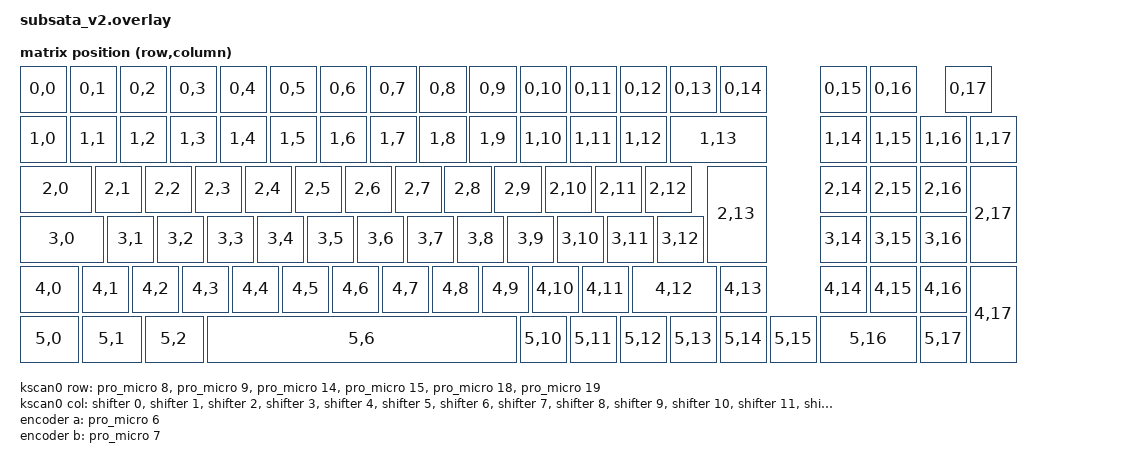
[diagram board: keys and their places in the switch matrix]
/*
 * Subsata v2 (Grstn90Plus rev 2): 99 keys + encoder on a nice!nano v2 (or a
 * "ProMicro NRF52840" clone), mounted face-down.
 *
 * Matrix: 6 rows x 18 columns, diodes col2row (same matrix as v1).
 *   Rows 0-5      D8, D9, D14, D15, D18, D19
 *   Columns 0-15  two daisy-chained 74HC595 shift registers (U2 = 0-7, U3 = 8-15)
 *   Columns 16-17 D20, D21
 *   The encoder's push switch is row 0, column 17.
 *
 * Shared SPI bus on the fast pins: SCK = D3 (P0.20), MOSI = D2 (P0.17).
 *   nice!view select = D1 (active high), shift register latch (RCLK) = D0 (active low).
 * Encoder: A = D6, B = D7.
 * LEDs: 20 SK6812MINI-E, data on D4 (P0.22) through a 330 ohm resistor.
 * LED power: TPS22917 load switch from the battery, ON = D5. ZMK's external
 *   power is pointed at it, so turning the LEDs off (or sleeping) cuts their power.
 *   The nice!nano's switchable 3.3V pin (P0.13) powers the shift registers and the
 *   nice!view, so it is held on permanently.
 */

#include <dt-bindings/zmk/matrix_transform.h>
#include <dt-bindings/led/led.h>
#include <physical_layouts.dtsi>

/ {
    chosen {
        zmk,physical-layout = &subsata_layout;
        zmk,underglow = &led_strip;
    };

    kscan0: kscan {
        compatible = "zmk,kscan-gpio-matrix";
        diode-direction = "col2row";

        row-gpios
            = <&pro_micro 8 (GPIO_ACTIVE_HIGH | GPIO_PULL_DOWN)>
            , <&pro_micro 9 (GPIO_ACTIVE_HIGH | GPIO_PULL_DOWN)>
            , <&pro_micro 14 (GPIO_ACTIVE_HIGH | GPIO_PULL_DOWN)>
            , <&pro_micro 15 (GPIO_ACTIVE_HIGH | GPIO_PULL_DOWN)>
            , <&pro_micro 18 (GPIO_ACTIVE_HIGH | GPIO_PULL_DOWN)>
            , <&pro_micro 19 (GPIO_ACTIVE_HIGH | GPIO_PULL_DOWN)>
            ;

        col-gpios
            = <&shifter 0 GPIO_ACTIVE_HIGH>     /* U2 QA */
            , <&shifter 1 GPIO_ACTIVE_HIGH>
            , <&shifter 2 GPIO_ACTIVE_HIGH>
            , <&shifter 3 GPIO_ACTIVE_HIGH>
            , <&shifter 4 GPIO_ACTIVE_HIGH>
            , <&shifter 5 GPIO_ACTIVE_HIGH>
            , <&shifter 6 GPIO_ACTIVE_HIGH>
            , <&shifter 7 GPIO_ACTIVE_HIGH>     /* U2 QH */
            , <&shifter 8 GPIO_ACTIVE_HIGH>     /* U3 QA */
            , <&shifter 9 GPIO_ACTIVE_HIGH>
            , <&shifter 10 GPIO_ACTIVE_HIGH>
            , <&shifter 11 GPIO_ACTIVE_HIGH>
            , <&shifter 12 GPIO_ACTIVE_HIGH>
            , <&shifter 13 GPIO_ACTIVE_HIGH>
            , <&shifter 14 GPIO_ACTIVE_HIGH>
            , <&shifter 15 GPIO_ACTIVE_HIGH>    /* U3 QH */
            , <&pro_micro 20 GPIO_ACTIVE_HIGH>  /* column 16 */
            , <&pro_micro 21 GPIO_ACTIVE_HIGH>  /* column 17 */
            ;
    };

    default_transform: matrix_transform {
        compatible = "zmk,matrix-transform";
        rows = <6>;
        columns = <18>;
        map = <
        RC(0,0)   RC(0,1)   RC(0,2)   RC(0,3)   RC(0,4)   RC(0,5)   RC(0,6)   RC(0,7)   RC(0,8)   RC(0,9)   RC(0,10)  RC(0,11)  RC(0,12)  RC(0,13)  RC(0,14)  RC(0,15)  RC(0,16)  RC(0,17)
        RC(1,0)   RC(1,1)   RC(1,2)   RC(1,3)   RC(1,4)   RC(1,5)   RC(1,6)   RC(1,7)   RC(1,8)   RC(1,9)   RC(1,10)  RC(1,11)  RC(1,12)  RC(1,13)  RC(1,14)  RC(1,15)  RC(1,16)  RC(1,17)
        RC(2,0)   RC(2,1)   RC(2,2)   RC(2,3)   RC(2,4)   RC(2,5)   RC(2,6)   RC(2,7)   RC(2,8)   RC(2,9)   RC(2,10)  RC(2,11)  RC(2,12)  RC(2,13)  RC(2,14)  RC(2,15)  RC(2,16)  RC(2,17)
        RC(3,0)   RC(3,1)   RC(3,2)   RC(3,3)   RC(3,4)   RC(3,5)   RC(3,6)   RC(3,7)   RC(3,8)   RC(3,9)   RC(3,10)  RC(3,11)  RC(3,12)  RC(3,14)  RC(3,15)  RC(3,16)
        RC(4,0)   RC(4,1)   RC(4,2)   RC(4,3)   RC(4,4)   RC(4,5)   RC(4,6)   RC(4,7)   RC(4,8)   RC(4,9)   RC(4,10)  RC(4,11)  RC(4,12)  RC(4,13)  RC(4,14)  RC(4,15)  RC(4,16)  RC(4,17)
        RC(5,0)   RC(5,1)   RC(5,2)   RC(5,6)   RC(5,10)  RC(5,11)  RC(5,12)  RC(5,13)  RC(5,14)  RC(5,15)  RC(5,16)  RC(5,17)
        >;
    };

    subsata_layout: subsata_layout {
        compatible = "zmk,physical-layout";
        display-name = "Subsata v2";
        transform = <&default_transform>;
        kscan = <&kscan0>;
        keys  //                     w   h     x    y rot rx ry
            = <&key_physical_attrs 100 100     0    0 0 0 0>
            , <&key_physical_attrs 100 100   100    0 0 0 0>
            , <&key_physical_attrs 100 100   200    0 0 0 0>
            , <&key_physical_attrs 100 100   300    0 0 0 0>
            , <&key_physical_attrs 100 100   400    0 0 0 0>
            , <&key_physical_attrs 100 100   500    0 0 0 0>
            , <&key_physical_attrs 100 100   600    0 0 0 0>
            , <&key_physical_attrs 100 100   700    0 0 0 0>
            , <&key_physical_attrs 100 100   800    0 0 0 0>
            , <&key_physical_attrs 100 100   900    0 0 0 0>
            , <&key_physical_attrs 100 100  1000    0 0 0 0>
            , <&key_physical_attrs 100 100  1100    0 0 0 0>
            , <&key_physical_attrs 100 100  1200    0 0 0 0>
            , <&key_physical_attrs 100 100  1300    0 0 0 0>
            , <&key_physical_attrs 100 100  1400    0 0 0 0>
            , <&key_physical_attrs 100 100  1600    0 0 0 0>
            , <&key_physical_attrs 100 100  1700    0 0 0 0>
            , <&key_physical_attrs 100 100  1850    0 0 0 0>
            , <&key_physical_attrs 100 100     0  100 0 0 0>
            , <&key_physical_attrs 100 100   100  100 0 0 0>
            , <&key_physical_attrs 100 100   200  100 0 0 0>
            , <&key_physical_attrs 100 100   300  100 0 0 0>
            , <&key_physical_attrs 100 100   400  100 0 0 0>
            , <&key_physical_attrs 100 100   500  100 0 0 0>
            , <&key_physical_attrs 100 100   600  100 0 0 0>
            , <&key_physical_attrs 100 100   700  100 0 0 0>
            , <&key_physical_attrs 100 100   800  100 0 0 0>
            , <&key_physical_attrs 100 100   900  100 0 0 0>
            , <&key_physical_attrs 100 100  1000  100 0 0 0>
            , <&key_physical_attrs 100 100  1100  100 0 0 0>
            , <&key_physical_attrs 100 100  1200  100 0 0 0>
            , <&key_physical_attrs 200 100  1300  100 0 0 0>
            , <&key_physical_attrs 100 100  1600  100 0 0 0>
            , <&key_physical_attrs 100 100  1700  100 0 0 0>
            , <&key_physical_attrs 100 100  1800  100 0 0 0>
            , <&key_physical_attrs 100 100  1900  100 0 0 0>
            , <&key_physical_attrs 150 100     0  200 0 0 0>
            , <&key_physical_attrs 100 100   150  200 0 0 0>
            , <&key_physical_attrs 100 100   250  200 0 0 0>
            , <&key_physical_attrs 100 100   350  200 0 0 0>
            , <&key_physical_attrs 100 100   450  200 0 0 0>
            , <&key_physical_attrs 100 100   550  200 0 0 0>
            , <&key_physical_attrs 100 100   650  200 0 0 0>
            , <&key_physical_attrs 100 100   750  200 0 0 0>
            , <&key_physical_attrs 100 100   850  200 0 0 0>
            , <&key_physical_attrs 100 100   950  200 0 0 0>
            , <&key_physical_attrs 100 100  1050  200 0 0 0>
            , <&key_physical_attrs 100 100  1150  200 0 0 0>
            , <&key_physical_attrs 100 100  1250  200 0 0 0>
            , <&key_physical_attrs 125 200  1375  200 0 0 0>
            , <&key_physical_attrs 100 100  1600  200 0 0 0>
            , <&key_physical_attrs 100 100  1700  200 0 0 0>
            , <&key_physical_attrs 100 100  1800  200 0 0 0>
            , <&key_physical_attrs 100 200  1900  200 0 0 0>
            , <&key_physical_attrs 175 100     0  300 0 0 0>
            , <&key_physical_attrs 100 100   175  300 0 0 0>
            , <&key_physical_attrs 100 100   275  300 0 0 0>
            , <&key_physical_attrs 100 100   375  300 0 0 0>
            , <&key_physical_attrs 100 100   475  300 0 0 0>
            , <&key_physical_attrs 100 100   575  300 0 0 0>
            , <&key_physical_attrs 100 100   675  300 0 0 0>
            , <&key_physical_attrs 100 100   775  300 0 0 0>
            , <&key_physical_attrs 100 100   875  300 0 0 0>
            , <&key_physical_attrs 100 100   975  300 0 0 0>
            , <&key_physical_attrs 100 100  1075  300 0 0 0>
            , <&key_physical_attrs 100 100  1175  300 0 0 0>
            , <&key_physical_attrs 100 100  1275  300 0 0 0>
            , <&key_physical_attrs 100 100  1600  300 0 0 0>
            , <&key_physical_attrs 100 100  1700  300 0 0 0>
            , <&key_physical_attrs 100 100  1800  300 0 0 0>
            , <&key_physical_attrs 125 100     0  400 0 0 0>
            , <&key_physical_attrs 100 100   125  400 0 0 0>
            , <&key_physical_attrs 100 100   225  400 0 0 0>
            , <&key_physical_attrs 100 100   325  400 0 0 0>
            , <&key_physical_attrs 100 100   425  400 0 0 0>
            , <&key_physical_attrs 100 100   525  400 0 0 0>
            , <&key_physical_attrs 100 100   625  400 0 0 0>
            , <&key_physical_attrs 100 100   725  400 0 0 0>
            , <&key_physical_attrs 100 100   825  400 0 0 0>
            , <&key_physical_attrs 100 100   925  400 0 0 0>
            , <&key_physical_attrs 100 100  1025  400 0 0 0>
            , <&key_physical_attrs 100 100  1125  400 0 0 0>
            , <&key_physical_attrs 175 100  1225  400 0 0 0>
            , <&key_physical_attrs 100 100  1400  400 0 0 0>
            , <&key_physical_attrs 100 100  1600  400 0 0 0>
            , <&key_physical_attrs 100 100  1700  400 0 0 0>
            , <&key_physical_attrs 100 100  1800  400 0 0 0>
            , <&key_physical_attrs 100 200  1900  400 0 0 0>
            , <&key_physical_attrs 125 100     0  500 0 0 0>
            , <&key_physical_attrs 125 100   125  500 0 0 0>
            , <&key_physical_attrs 125 100   250  500 0 0 0>
            , <&key_physical_attrs 625 100   375  500 0 0 0>
            , <&key_physical_attrs 100 100  1000  500 0 0 0>
            , <&key_physical_attrs 100 100  1100  500 0 0 0>
            , <&key_physical_attrs 100 100  1200  500 0 0 0>
            , <&key_physical_attrs 100 100  1300  500 0 0 0>
            , <&key_physical_attrs 100 100  1400  500 0 0 0>
            , <&key_physical_attrs 100 100  1500  500 0 0 0>
            , <&key_physical_attrs 200 100  1600  500 0 0 0>
            , <&key_physical_attrs 100 100  1800  500 0 0 0>
            ;
    };

    encoder: encoder {
        compatible = "alps,ec11";
        a-gpios = <&pro_micro 6 (GPIO_ACTIVE_HIGH | GPIO_PULL_UP)>;
        b-gpios = <&pro_micro 7 (GPIO_ACTIVE_HIGH | GPIO_PULL_UP)>;
        steps = <80>;
        status = "okay";
    };

    sensors: sensors {
        compatible = "zmk,keymap-sensors";
        sensors = <&encoder>;
        triggers-per-rotation = <20>;
    };
};

/* ZMK's external power drives the LED load switch (D5) instead of the 3.3V pin. */
&{/EXT_POWER} {
    control-gpios = <&pro_micro 5 GPIO_ACTIVE_HIGH>;
};

/* Keep the 3.3V pin (shift registers, nice!view) powered at all times. */
&gpio0 {
    vcc_always_on {
        gpio-hog;
        gpios = <13 GPIO_ACTIVE_HIGH>;
        output-high;
    };
};

&pinctrl {
    spi0_default: spi0_default {
        group1 {
            psels = <NRF_PSEL(SPIM_SCK, 0, 20)>,    /* D3 */
                    <NRF_PSEL(SPIM_MOSI, 0, 17)>;   /* D2 */
        };
    };
    spi0_sleep: spi0_sleep {
        group1 {
            psels = <NRF_PSEL(SPIM_SCK, 0, 20)>,
                    <NRF_PSEL(SPIM_MOSI, 0, 17)>;
            low-power-enable;
        };
    };

    spi3_default: spi3_default {
        group1 {
            psels = <NRF_PSEL(SPIM_MOSI, 0, 22)>;   /* D4 */
        };
    };
    spi3_sleep: spi3_sleep {
        group1 {
            psels = <NRF_PSEL(SPIM_MOSI, 0, 22)>;
            low-power-enable;
        };
    };
};

/* SPI0 shares its hardware with I2C0, which is not used here. */
&pro_micro_i2c {
    status = "disabled";
};

/* One bus for the nice!view (reg 0, added by the nice_view shield) and the shift registers (reg 1). */
nice_view_spi: &spi0 {
    status = "okay";
    compatible = "nordic,nrf-spim";
    pinctrl-0 = <&spi0_default>;
    pinctrl-1 = <&spi0_sleep>;
    pinctrl-names = "default", "sleep";
    cs-gpios = <&pro_micro 1 GPIO_ACTIVE_HIGH>,    /* D1 -> nice!view CS */
               <&pro_micro 0 GPIO_ACTIVE_LOW>;     /* D0 -> RCLK (latch) */

    shifter: 595@1 {
        compatible = "zmk,gpio-595";
        status = "okay";
        gpio-controller;
        spi-max-frequency = <2000000>;
        reg = <1>;
        #gpio-cells = <2>;
        ngpios = <16>;
    };
};

&spi3 {
    status = "okay";
    compatible = "nordic,nrf-spim";
    pinctrl-0 = <&spi3_default>;
    pinctrl-1 = <&spi3_sleep>;
    pinctrl-names = "default", "sleep";

    led_strip: ws2812@0 {
        compatible = "worldsemi,ws2812-spi";
        reg = <0>;
        spi-max-frequency = <4000000>;
        chain-length = <20>;
        spi-one-frame = <0x70>;
        spi-zero-frame = <0x40>;
        color-mapping = <LED_COLOR_ID_GREEN LED_COLOR_ID_RED LED_COLOR_ID_BLUE>;
    };
};
